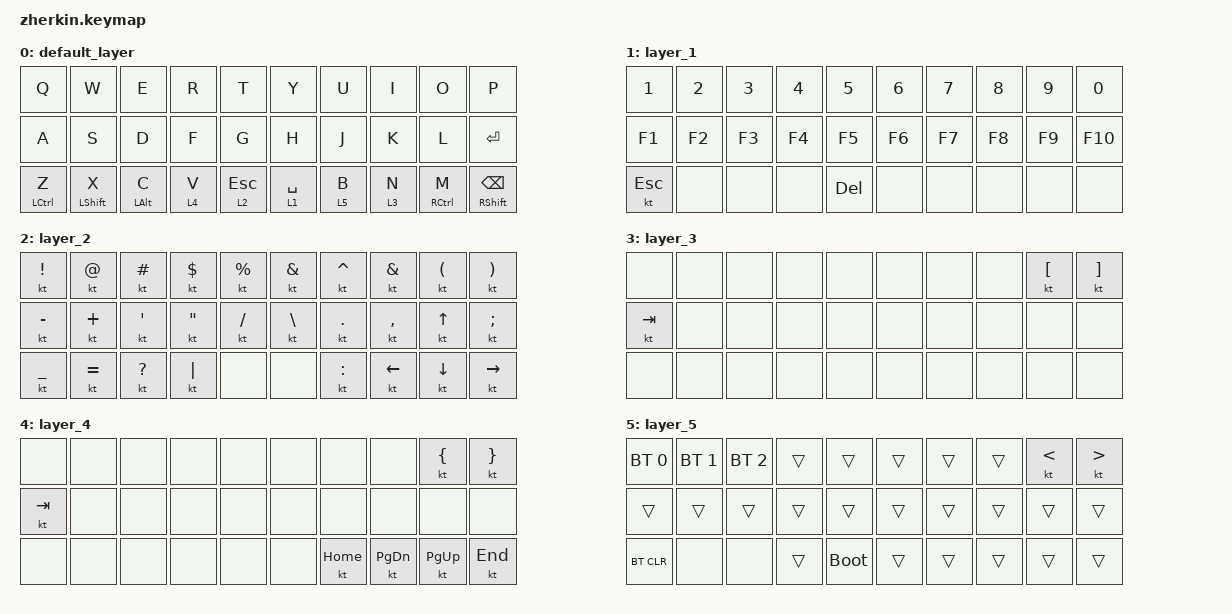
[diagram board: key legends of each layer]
#include <behaviors.dtsi>
#include <dt-bindings/zmk/bt.h>
#include <dt-bindings/zmk/keys.h>
#include <dt-bindings/zmk/keys.h>

#define DEFAULT 0
#define LOWER 1

/ {
    keymap {
        compatible = "zmk,keymap";

        default_layer {
            // --------------------------------------------------------------------------------------------------------------------------------------------------------------------
            // |   ESC   |    Q    |    W    |    E    |    R    |    T    |                                          |    Y    |    U    |    I    |    O    |    P    |    \    |
            // |   TAB   |    A    |    S    |    D    |    F    |    G    |                                          |    H    |    J    |    K    |    L    |    ;    |    '    |
            // |  SHIFT  |    Z    |    X    |    C    |    V    |    B    | CTRL+A  | CTRL+C  |  |  CTRL+V |  CTRL+X |    N    |    M    |    ,    |    .    |    /    |  R CTRL |
            //                               |   GUI   |   DEL   | RETURN  |  SPACE  | ESCAPE  |  |  RETURN |  SPACE  |   TAB   |   BSPC  |  R ALT  |

            bindings = <
&kp Q        &kp W         &kp E           &kp R    &kp T         &kp Y        &kp U    &kp I    &kp O        &kp P
&kp A        &kp S         &kp D           &kp F    &kp G         &kp H        &kp J    &kp K    &kp L        &kp ENTER
&mt LCTRL Z  &mt LSHIFT X  &mt LEFT_ALT C  &lt 4 V  &lt 2 ESCAPE  &lt 1 SPACE  &lt 5 B  &lt 3 N  &mt RCTRL M  &mt RSHIFT BACKSPACE
            >;
        };

        layer_1 {
            // --------------------------------------------------------------------------------------------------------------------------------------------------------------------
            // |   ESC   |    Q    |    W    |    E    |    R    |    T    |                                          |    Y    |    U    |    I    |    O    |    P    |    \    |
            // |   TAB   |    A    |    S    |    D    |    F    |    G    |                                          |    H    |    J    |    K    |    L    |    ;    |    '    |
            // |  SHIFT  |    Z    |    X    |    C    |    V    |    B    | CTRL+A  | CTRL+C  |  |  CTRL+V |  CTRL+X |    N    |    M    |    ,    |    .    |    /    |  R CTRL |
            //                               |   GUI   |   DEL   | RETURN  |  SPACE  | ESCAPE  |  |  RETURN |  SPACE  |   TAB   |   BSPC  |  R ALT  |

            bindings = <
&kp NUMBER_1  &kp NUMBER_2  &kp NUMBER_3  &kp NUMBER_4  &kp N5      &kp NUMBER_6  &kp N7  &kp N8  &kp N9  &kp N0
&kp F1        &kp F2        &kp F3        &kp F4        &kp F5      &kp F6        &kp F7  &kp F8  &kp F9  &kp F10
&kt ESCAPE    &none         &none         &none         &kp DELETE  &none         &none   &none   &none   &none
            >;
        };

        layer_2 {
            bindings = <
&kt EXCLAMATION  &kt AT_SIGN  &kt HASH      &kt DOLLAR         &kt PERCENT  &kt AMPERSAND  &kt CARET   &kt AMPERSAND  &kt LEFT_PARENTHESIS  &kt RIGHT_PARENTHESIS
&kt MINUS        &kt PLUS     &kt SQT       &kt DOUBLE_QUOTES  &kt SLASH    &kt BACKSLASH  &kt PERIOD  &kt COMMA      &kt UP_ARROW          &kt SEMICOLON
&kt UNDERSCORE   &kt EQUAL    &kt QUESTION  &kt PIPE           &none        &none          &kt COLON   &kt LEFT       &kt DOWN              &kt RIGHT
            >;
        };

        layer_3 {
            bindings = <
&none    &none  &none  &none  &none  &none  &none  &none  &kt LEFT_BRACKET  &kt RIGHT_BRACKET
&kt TAB  &none  &none  &none  &none  &none  &none  &none  &none             &none
&none    &none  &none  &none  &none  &none  &none  &none  &none             &none
            >;
        };

        layer_4 {
            bindings = <
&none    &none  &none  &none  &none  &none  &none     &none          &kt LEFT_BRACE  &kt RIGHT_BRACE
&kt TAB  &none  &none  &none  &none  &none  &none     &none          &none           &none
&none    &none  &none  &none  &none  &none  &kt HOME  &kt PAGE_DOWN  &kt PG_UP       &kt END
            >;
        };

        layer_5 {
            bindings = <
&bt BT_SEL 0  &bt BT_SEL 1  &bt BT_SEL 2  &trans  &trans       &trans  &trans  &trans  &kt LESS_THAN  &kt GREATER_THAN
&trans        &trans        &trans        &trans  &trans       &trans  &trans  &trans  &trans         &trans
&bt BT_CLR    &none         &none         &trans  &bootloader  &trans  &trans  &trans  &trans         &trans
            >;
        };
    };
};
